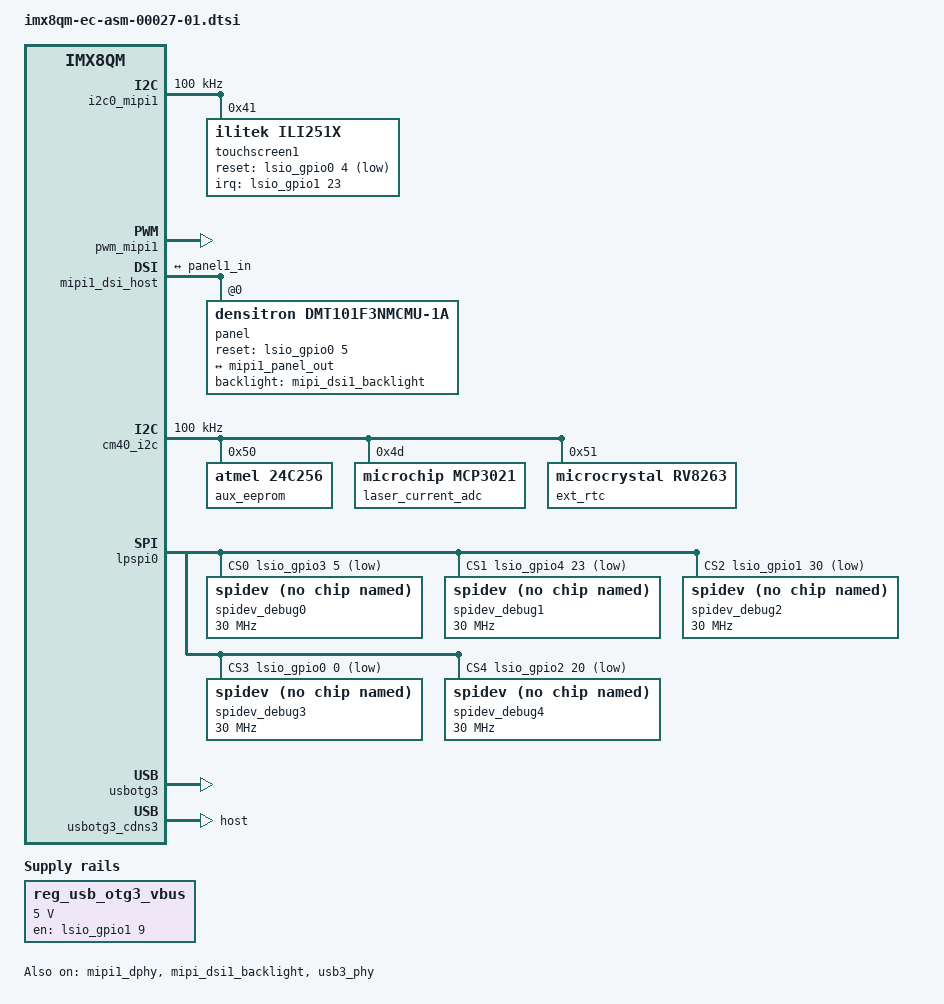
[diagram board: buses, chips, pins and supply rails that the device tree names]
// SPDX-License-Identifier: GPL-2.0+
/*
 * Copyright 2024 Refeyn
 *	Matthew Joyce <matthew.joyce@refeyn.com>
 */

/ {
	reg_usb_otg3_vbus: regulator-usbotg3-vbus {
		compatible = "regulator-fixed";
		regulator-name = "usb_otg3_vbus";
		regulator-min-microvolt = <5000000>;
		regulator-max-microvolt = <5000000>;
		gpio = <&lsio_gpio1 9 GPIO_ACTIVE_HIGH>;
		over-current-gpios = <&lsio_gpio1 10 GPIO_ACTIVE_HIGH>;
		enable-active-high;
		regulator-always-on;
	};
};

// Touchscreen connector

&i2c0_mipi1 {
	#address-cells = <1>;
	#size-cells = <0>;
	pinctrl-names = "default";
	pinctrl-0 = <&pinctrl_mipi1_lpi2c0>;
	clock-frequency = <100000>;
	status = "okay";

	touchscreen1: touchscreen@41 {
		#address-cells = <1>;
		#size-cells = <0>;
		compatible = "ilitek,ili251x";
		reg = <0x41>;

		pinctrl-names = "default";
		pinctrl-0 = <&pinctrl_mipi1_touchscreen>;

		interrupt-parent = <&lsio_gpio1>;
		interrupts = <23 IRQ_TYPE_LEVEL_LOW>;
		reset-gpios = <&lsio_gpio0 4 GPIO_ACTIVE_LOW>; // AUX_GPIO_4
		wakeup-source;
	};
};

&mipi1_dphy {
	status = "okay";
};

&mipi_dsi1_backlight {
	status = "okay";
};

&pwm_mipi1 {
    pinctrl-names = "default";
    pinctrl-0 = <&pinctrl_pwm_mipi_dsi1>;
	status = "okay";
};

&mipi1_dsi_host {
	status = "okay";
	fsl,clock-drop-level = <2>;

	panel@0 {
		#address-cells = <1>;
		#size-cells = <0>;
		compatible = "densitron,dmt101f3nmcmu-1a";
		reg = <0>;

		rotation = <90>;

		backlight = <&mipi_dsi1_backlight>;

		pinctrl-names = "default";
		pinctrl-0 = <&pinctrl_mipi1_panel>;
		reset-gpios = <&lsio_gpio0 5 GPIO_ACTIVE_HIGH>; // AUX_GPIO_5

		port@0 {
			reg = <0>;
			panel1_in: endpoint {
				remote-endpoint = <&mipi1_panel_out>;
			};
		};
	};

	ports {
		port@1 {
			reg = <1>;
			mipi1_panel_out: endpoint {
				remote-endpoint = <&panel1_in>;
			};
		};
	};
};

// I2C

&rtc { // Disable CPU RTC
	status = "disabled";
};

&cm40_i2c { // Aux card I2C bus
	#address-cells = <1>;
	#size-cells = <0>;
	clock-frequency = <100000>;
	pinctrl-names = "default";
	pinctrl-0 = <&pinctrl_cm40_i2c>;
	status = "okay";

	aux_eeprom: aux-eeprom@50 { // 256 Kb EEPROM
		compatible = "atmel,24c256";
		reg = <0x50>;
	};

	laser_current_adc: laser-current-adc@4d { // Laser current monitor analogue to digital converter.
		compatible = "microchip,mcp3021";
		reg = <0x4d>;
        reference-voltage-microvolt = <5000000>;
	};

	ext_rtc: ext-rtc@51 { // Daisy-chained RTC
		compatible = "microcrystal,rv8263";
		reg = <0x51>;
	};
};

// SPI bus

&lpspi0 { // Debug SPI
	#address-cells = <1>;
	#size-cells = <0>;
	fsl,spi-num-chipselects = <2>;
	pinctrl-names = "default";
	pinctrl-0 = <&pinctrl_lpspi0>;
	cs-gpios = <&lsio_gpio3 5 GPIO_ACTIVE_LOW>,
		<&lsio_gpio4 23 GPIO_ACTIVE_LOW>,
		<&lsio_gpio1 30 GPIO_ACTIVE_LOW>,
		<&lsio_gpio0 0 GPIO_ACTIVE_LOW>,
		<&lsio_gpio2 20 GPIO_ACTIVE_LOW>;
	assigned-clock-rates = <60000000>;
	status = "okay";

	// Add spidev devices
	spidev_debug0: laser-driver-control-spi@0 { // Laser Driver Control
		reg = <0>;
		compatible = "rohm,dh2228fv";
		spi-max-frequency = <30000000>;
	};

	spidev_debug1: piezo-control-dac-1-spi@1 { // Piezo Control DAC (Method 1)
		reg = <1>;
		compatible = "rohm,dh2228fv";
		spi-max-frequency = <30000000>;
	};

	spidev_debug2: piezo-control-dac-2-spi@2 { // Piezo Control DAC (Method 2)
		reg = <2>;
		compatible = "rohm,dh2228fv";
		spi-max-frequency = <30000000>;
	};

	spidev_debug3: piezo-control-dds-1-spi@3 { // Piezo Control DDS (Method 1)
		reg = <3>;
		compatible = "rohm,dh2228fv";
		spi-max-frequency = <30000000>;
	};

	spidev_debug4: piezo-control-digipot-1-spi@4 { // Piezo Control Digipot (Method 1)
		reg = <4>;
		compatible = "rohm,dh2228fv";
		spi-max-frequency = <30000000>;
	};
};

// USB

&usb3_phy {
	status = "okay";
};

&usbotg3 {
	status = "okay";
};

&usbotg3_cdns3 {
	pinctrl-names = "default";
	pinctrl-0 = <&pinctrl_usbotg3>;
	dr_mode = "host";
	status = "okay";
	srp-disable;
	hnp-disable;
	adp-disable;
};

// Pin mux control

&iomuxc {
	pinctrl-names = "default";
	pinctrl-0 = <&pinctrl_hog>, <&pinctrl_hog_extra>;

	pinctrl_hog_extra: hogextragrp {
		fsl,pins = <
			IMX8QM_SPI0_CS0_LSIO_GPIO3_IO05						0x06000040

			// Debug GPIOs
			IMX8QM_M40_GPIO0_00_LSIO_GPIO0_IO08					0x06000021
			IMX8QM_M40_GPIO0_01_LSIO_GPIO0_IO09					0x06000021
			IMX8QM_M41_GPIO0_00_LSIO_GPIO0_IO12					0x06000021
			IMX8QM_M41_GPIO0_01_LSIO_GPIO0_IO13					0x06000021

			// Direct GPIOs
			IMX8QM_MIPI_CSI1_GPIO0_01_LSIO_GPIO1_IO31			0x06000041 // Power Enable and LED1 TODO should be PWM
			IMX8QM_SPI3_SDO_LSIO_GPIO2_IO18						0x06000041 // LED0 TODO should be PWM, but DT entry does not exist
			IMX8QM_SIM0_PD_LSIO_GPIO0_IO03						0x06000041 // Shutter Enable
			IMX8QM_QSPI1A_DATA3_LSIO_GPIO4_IO23					0x06000041 // DAC RESET
			IMX8QM_SIM0_IO_LSIO_GPIO0_IO02						0x06000041 // Camera Trigger (Method 2)
			IMX8QM_SPI3_SDI_LSIO_GPIO2_IO19						0x06000041 // LDAC (DAC latch)
			IMX8QM_QSPI1A_SS0_B_LSIO_GPIO4_IO19					0x06000021 // Spare GPIO on header
		>;
	};

	pinctrl_pwm_mipi_dsi1: mipi1_pwmgrp {
		fsl,pins = <
			IMX8QM_MIPI_DSI1_GPIO0_00_MIPI_DSI1_PWM0_OUT		0x06000020
		>;
	};

	pinctrl_mipi1_lpi2c0: mipi1_lpi2c0grp {
		fsl,pins = <
			IMX8QM_MIPI_DSI1_I2C0_SCL_MIPI_DSI1_I2C0_SCL		0x04000020
			IMX8QM_MIPI_DSI1_I2C0_SDA_MIPI_DSI1_I2C0_SDA		0x04000020
		>;
	};

	pinctrl_mipi1_touchscreen: mipi1_touchscreengrp {
		fsl,pins = <
			IMX8QM_MIPI_DSI1_GPIO0_01_LSIO_GPIO1_IO23			0x06000020
			IMX8QM_SIM0_POWER_EN_LSIO_GPIO0_IO04				0x06000020 // AUX_GPIO_4
		>;
	};

	pinctrl_mipi1_panel: mipi1_panelgrp {
		fsl,pins = <
			IMX8QM_SIM0_GPIO0_00_LSIO_GPIO0_IO05				0x06000020 // AUX_GPIO_5
		>;
	};

	pinctrl_cm40_i2c: cm40i2cgrp {
		fsl,pins = <
			IMX8QM_M40_I2C0_SDA_M40_I2C0_SDA					0x04000020
			IMX8QM_M40_I2C0_SCL_M40_I2C0_SCL					0x04000020
		>;
	};

	pinctrl_usbotg3: usbotg3 {
		fsl,pins = <
			IMX8QM_LVDS0_I2C1_SDA_LSIO_GPIO1_IO09				0x06000021
			IMX8QM_LVDS1_GPIO00_LSIO_GPIO1_IO10					0x06000021
		>;
	};

	pinctrl_lpspi0: lpspi0grp {
		fsl,pins = <
			IMX8QM_SPI0_SCK_DMA_SPI0_SCK						0x06000040
			IMX8QM_SPI0_SDI_DMA_SPI0_SDI						0x06000040
			IMX8QM_SPI0_SDO_DMA_SPI0_SDO						0x06000040

			// Chip selects
			IMX8QM_SIM0_RST_LSIO_GPIO0_IO01						0x06000040
			IMX8QM_QSPI1A_DATA2_LSIO_GPIO4_IO24					0x06000040
			IMX8QM_MIPI_CSI1_GPIO0_00_LSIO_GPIO1_IO30			0x06000040
			IMX8QM_SIM0_CLK_LSIO_GPIO0_IO00						0x06000040
			IMX8QM_SPI3_CS0_LSIO_GPIO2_IO20						0x06000040
		>;
	};
};
